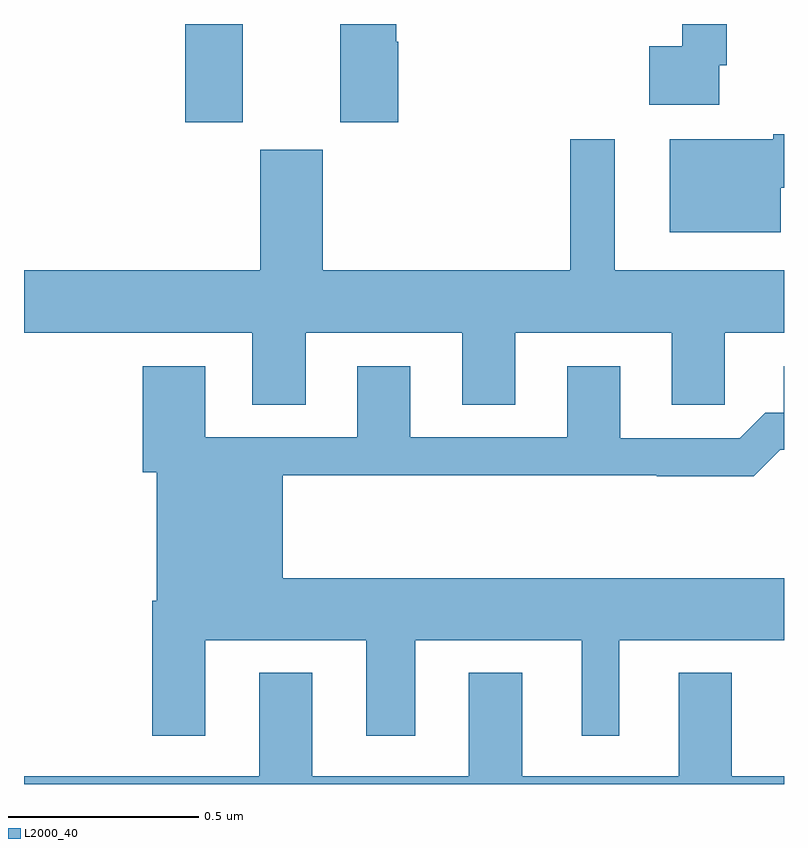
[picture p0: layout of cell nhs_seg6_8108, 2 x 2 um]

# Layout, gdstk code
import gdstk
lib = gdstk.Library(unit=1e-6, precision=1e-09)
def R(c, l, rs):  # rectangles x0, y0, x1, y1
    for r in rs: c.add(gdstk.rectangle(r[:2], r[2:], *l))
def P(c, l, *ps):  # polygons
    for p in ps: c.add(gdstk.Polygon(p, *l))
L2000_40 = (2000, 40)

nhs_seg6_8108 = lib.new_cell('nhs_seg6_8108')
R(nhs_seg6_8108, L2000_40, [(217.424,929.241,217.576,929.5)])
P(nhs_seg6_8108, L2000_40, [(218.829,929.392),(218.849,929.392),(218.849,929.5),(218.732,929.5),(218.732,929.441),(218.646,929.441),(218.646,929.288),(218.829,929.288)],
  [(217.985,929.453),(217.98,929.453),(217.98,929.5),(217.832,929.5),(217.832,929.241),(217.985,929.241)],
  [(218.992,929.069),(219,929.069),(219,929.21),(218.972,929.21),(218.972,929.197),(218.699,929.197),(218.699,928.952),(218.992,928.952)],
  [(217.741,928.688),(218.153,928.688),(218.153,928.498),(218.293,928.498),(218.293,928.688),(218.705,928.688),(218.705,928.498),(218.844,928.498),(218.844,928.688),(219,928.688),(219,928.852),(218.554,928.852),(218.554,929.197),(218.437,929.197),(218.437,928.852),(217.786,928.852),(217.786,929.169),(217.622,929.169),(217.622,928.852),(217,928.852),(217,928.688),(217.601,928.688),(217.601,928.498),(217.741,928.498)],
  [(217.477,927.878),(217.901,927.878),(217.901,927.627),(218.029,927.627),(218.029,927.878),(218.468,927.878),(218.468,927.627),(218.566,927.627),(218.566,927.878),(219,927.878),(219,928.042),(217.681,928.042),(217.681,928.312),(218.665,928.312),(218.665,928.31),(218.921,928.31),(218.99,928.379),(219,928.379),(219,928.6),(218.999,928.6),(218.999,928.477),(218.95,928.477),(218.883,928.41),(218.569,928.41),(218.569,928.6),(218.429,928.6),(218.429,928.413),(218.017,928.413),(218.017,928.6),(217.877,928.6),(217.877,928.413),(217.477,928.413),(217.477,928.6),(217.313,928.6),(217.313,928.32),(217.349,928.32),(217.349,927.982),(217.337,927.982),(217.337,927.627),(217.477,927.627)],
  [(219,927.52),(218.863,927.52),(218.863,927.793),(218.723,927.793),(218.723,927.52),(218.311,927.52),(218.311,927.793),(218.171,927.793),(218.171,927.52),(217.759,927.52),(217.759,927.793),(217.619,927.793),(217.619,927.52),(217,927.52),(217,927.5),(219,927.5)])

lib.write_gds('nhs_seg6_8108.gds')
